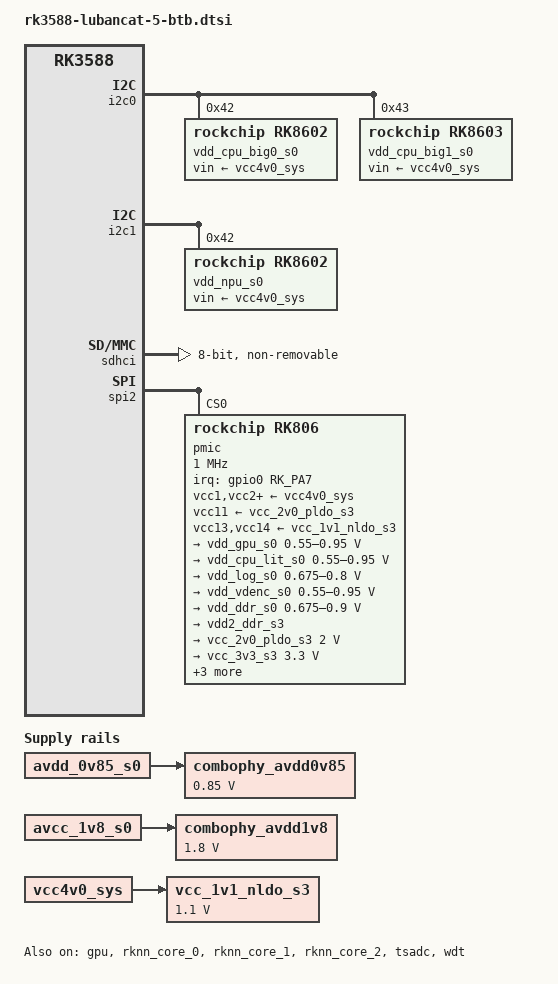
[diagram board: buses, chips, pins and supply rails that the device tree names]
// SPDX-License-Identifier: (GPL-2.0+ OR MIT)
/*
 * Copyright (c) 2025 Cunhao Lu <1579567540@qq.com>
 */

#include <dt-bindings/gpio/gpio.h>

/ {
	compatible = "embedfire,lubancat-5-btb", "rockchip,rk3588";

	aliases {
		mmc0 = &sdhci;
	};

	combophy_avdd0v85: regulator-combophy-avdd0v85 {
		compatible = "regulator-fixed";
		regulator-boot-on;
		regulator-max-microvolt = <850000>;
		regulator-min-microvolt = <850000>;
		regulator-name = "combophy_avdd0v85";
		vin-supply = <&avdd_0v85_s0>;
	};

	combophy_avdd1v8: regulator-combophy-avdd1v8 {
		compatible = "regulator-fixed";
		regulator-boot-on;
		regulator-max-microvolt = <1800000>;
		regulator-min-microvolt = <1800000>;
		regulator-name = "combophy_avdd1v8";
		vin-supply = <&avcc_1v8_s0>;
	};

	vcc_1v1_nldo_s3: regulator-vcc-1v1-nldo-s3 {
		compatible = "regulator-fixed";
		regulator-always-on;
		regulator-boot-on;
		regulator-max-microvolt = <1100000>;
		regulator-min-microvolt = <1100000>;
		regulator-name = "vcc_1v1_nldo_s3";
		vin-supply = <&vcc4v0_sys>;
	};
};

&can1 {
	assigned-clock-rates = <300000000>;
	assigned-clocks = <&cru CLK_CAN1>;
};

&can2 {
	assigned-clock-rates = <300000000>;
	assigned-clocks = <&cru CLK_CAN2>;
};

&cpu_b0 {
	cpu-supply = <&vdd_cpu_big0_s0>;
};

&cpu_b1 {
	cpu-supply = <&vdd_cpu_big0_s0>;
};

&cpu_b2 {
	cpu-supply = <&vdd_cpu_big1_s0>;
};

&cpu_b3 {
	cpu-supply = <&vdd_cpu_big1_s0>;
};

&cpu_l0 {
	cpu-supply = <&vdd_cpu_lit_s0>;
};

&cpu_l1 {
	cpu-supply = <&vdd_cpu_lit_s0>;
};

&cpu_l2 {
	cpu-supply = <&vdd_cpu_lit_s0>;
};

&cpu_l3 {
	cpu-supply = <&vdd_cpu_lit_s0>;
};

&gpu {
	mali-supply = <&vdd_gpu_s0>;
	status = "okay";
};

&i2c0 {
	pinctrl-0 = <&i2c0m2_xfer>;
	pinctrl-names = "default";
	status = "okay";

	vdd_cpu_big0_s0: regulator@42 {
		compatible = "rockchip,rk8602";
		reg = <0x42>;
		regulator-always-on;
		regulator-boot-on;
		regulator-max-microvolt = <1050000>;
		regulator-min-microvolt = <550000>;
		regulator-name = "vdd_cpu_big0_s0";
		regulator-ramp-delay = <2300>;
		vin-supply = <&vcc4v0_sys>;
		fcs,suspend-voltage-selector = <1>;

		regulator-state-mem {
			regulator-off-in-suspend;
		};
	};

	vdd_cpu_big1_s0: regulator@43 {
		compatible = "rockchip,rk8603", "rockchip,rk8602";
		reg = <0x43>;
		regulator-always-on;
		regulator-boot-on;
		regulator-max-microvolt = <1050000>;
		regulator-min-microvolt = <550000>;
		regulator-name = "vdd_cpu_big1_s0";
		regulator-ramp-delay = <2300>;
		vin-supply = <&vcc4v0_sys>;
		fcs,suspend-voltage-selector = <1>;

		regulator-state-mem {
			regulator-off-in-suspend;
		};
	};
};

&i2c1 {
	pinctrl-0 = <&i2c1m2_xfer>;
	pinctrl-names = "default";
	status = "okay";

	vdd_npu_s0: regulator@42 {
		compatible = "rockchip,rk8602";
		reg = <0x42>;
		regulator-boot-on;
		regulator-max-microvolt = <950000>;
		regulator-min-microvolt = <550000>;
		regulator-name = "vdd_npu_s0";
		regulator-ramp-delay = <2300>;
		vin-supply = <&vcc4v0_sys>;
		fcs,suspend-voltage-selector = <1>;

		regulator-state-mem {
			regulator-off-in-suspend;
		};
	};
};

&pd_gpu {
	domain-supply = <&vdd_gpu_s0>;
};

&pd_npu {
	domain-supply = <&vdd_npu_s0>;
};

&rknn_core_0 {
	npu-supply = <&vdd_npu_s0>;
	sram-supply = <&vdd_npu_s0>;
	status = "okay";
};

&rknn_core_1 {
	npu-supply = <&vdd_npu_s0>;
	sram-supply = <&vdd_npu_s0>;
	status = "okay";
};

&rknn_core_2 {
	npu-supply = <&vdd_npu_s0>;
	sram-supply = <&vdd_npu_s0>;
	status = "okay";
};

&rknn_mmu_0 {
	status = "okay";
};

&rknn_mmu_1 {
	status = "okay";
};

&rknn_mmu_2 {
	status = "okay";
};

&sdhci {
	bus-width = <8>;
	max-frequency = <200000000>;
	mmc-hs400-1_8v;
	mmc-hs400-enhanced-strobe;
	no-sd;
	no-sdio;
	non-removable;
	status = "okay";
};

&sfc {
	status = "disabled";
};

&spi2 {
	assigned-clock-rates = <200000000>;
	assigned-clocks = <&cru CLK_SPI2>;
	num-cs = <1>;
	pinctrl-0 = <&spi2m2_cs0 &spi2m2_pins>;
	pinctrl-names = "default";
	status = "okay";

	pmic@0 {
		compatible = "rockchip,rk806";
		reg = <0x0>;
		#gpio-cells = <2>;
		gpio-controller;
		interrupt-parent = <&gpio0>;
		interrupts = <RK_PA7 IRQ_TYPE_LEVEL_LOW>;
		pinctrl-0 = <&pmic_pins>, <&rk806_dvs1_null>,
			    <&rk806_dvs2_null>, <&rk806_dvs3_null>;
		pinctrl-names = "default";
		spi-max-frequency = <1000000>;
		system-power-controller;

		vcc1-supply = <&vcc4v0_sys>;
		vcc2-supply = <&vcc4v0_sys>;
		vcc3-supply = <&vcc4v0_sys>;
		vcc4-supply = <&vcc4v0_sys>;
		vcc5-supply = <&vcc4v0_sys>;
		vcc6-supply = <&vcc4v0_sys>;
		vcc7-supply = <&vcc4v0_sys>;
		vcc8-supply = <&vcc4v0_sys>;
		vcc9-supply = <&vcc4v0_sys>;
		vcc10-supply = <&vcc4v0_sys>;
		vcc11-supply = <&vcc_2v0_pldo_s3>;
		vcc12-supply = <&vcc4v0_sys>;
		vcc13-supply = <&vcc_1v1_nldo_s3>;
		vcc14-supply = <&vcc_1v1_nldo_s3>;
		vcca-supply = <&vcc4v0_sys>;

		rk806_dvs1_null: dvs1-null-pins {
			function = "pin_fun0";
			pins = "gpio_pwrctrl1";
		};

		rk806_dvs2_null: dvs2-null-pins {
			function = "pin_fun0";
			pins = "gpio_pwrctrl2";
		};

		rk806_dvs3_null: dvs3-null-pins {
			function = "pin_fun0";
			pins = "gpio_pwrctrl3";
		};

		regulators {
			vdd_gpu_s0: dcdc-reg1 {
				regulator-boot-on;
				regulator-enable-ramp-delay = <400>;
				regulator-max-microvolt = <950000>;
				regulator-min-microvolt = <550000>;
				regulator-name = "vdd_gpu_s0";
				regulator-ramp-delay = <12500>;

				regulator-state-mem {
					regulator-off-in-suspend;
				};
			};

			vdd_cpu_lit_s0: dcdc-reg2 {
				regulator-always-on;
				regulator-boot-on;
				regulator-max-microvolt = <950000>;
				regulator-min-microvolt = <550000>;
				regulator-name = "vdd_cpu_lit_s0";
				regulator-ramp-delay = <12500>;

				regulator-state-mem {
					regulator-off-in-suspend;
				};
			};

			vdd_log_s0: dcdc-reg3 {
				regulator-always-on;
				regulator-boot-on;
				regulator-max-microvolt = <800000>;
				regulator-min-microvolt = <675000>;
				regulator-name = "vdd_log_s0";
				regulator-ramp-delay = <12500>;

				regulator-state-mem {
					regulator-off-in-suspend;
					regulator-suspend-microvolt = <750000>;
				};
			};

			vdd_vdenc_s0: dcdc-reg4 {
				regulator-always-on;
				regulator-boot-on;
				regulator-max-microvolt = <950000>;
				regulator-min-microvolt = <550000>;
				regulator-name = "vdd_vdenc_s0";
				regulator-ramp-delay = <12500>;

				regulator-state-mem {
					regulator-off-in-suspend;
				};
			};

			vdd_ddr_s0: dcdc-reg5 {
				regulator-always-on;
				regulator-boot-on;
				regulator-max-microvolt = <900000>;
				regulator-min-microvolt = <675000>;
				regulator-name = "vdd_ddr_s0";
				regulator-ramp-delay = <12500>;

				regulator-state-mem {
					regulator-off-in-suspend;
					regulator-suspend-microvolt = <850000>;
				};
			};

			vdd2_ddr_s3: dcdc-reg6 {
				regulator-always-on;
				regulator-boot-on;
				regulator-name = "vdd2_ddr_s3";

				regulator-state-mem {
					regulator-on-in-suspend;
				};
			};

			vcc_2v0_pldo_s3: dcdc-reg7 {
				regulator-always-on;
				regulator-boot-on;
				regulator-max-microvolt = <2000000>;
				regulator-min-microvolt = <2000000>;
				regulator-name = "vcc_2v0_pldo_s3";
				regulator-ramp-delay = <12500>;

				regulator-state-mem {
					regulator-on-in-suspend;
					regulator-suspend-microvolt = <2000000>;
				};
			};

			vcc_3v3_s3: dcdc-reg8 {
				regulator-always-on;
				regulator-boot-on;
				regulator-max-microvolt = <3300000>;
				regulator-min-microvolt = <3300000>;
				regulator-name = "vcc_3v3_s3";

				regulator-state-mem {
					regulator-on-in-suspend;
					regulator-suspend-microvolt = <3300000>;
				};
			};

			vddq_ddr_s0: dcdc-reg9 {
				regulator-always-on;
				regulator-boot-on;
				regulator-name = "vddq_ddr_s0";

				regulator-state-mem {
					regulator-off-in-suspend;
				};
			};

			vcc_1v8_s3: dcdc-reg10 {
				regulator-always-on;
				regulator-boot-on;
				regulator-max-microvolt = <1800000>;
				regulator-min-microvolt = <1800000>;
				regulator-name = "vcc_1v8_s3";

				regulator-state-mem {
					regulator-on-in-suspend;
					regulator-suspend-microvolt = <1800000>;
				};
			};

			vdd_0v75_s3: nldo-reg1 {
				regulator-always-on;
				regulator-boot-on;
				regulator-max-microvolt = <750000>;
				regulator-min-microvolt = <750000>;
				regulator-name = "vdd_0v75_s3";

				regulator-state-mem {
					regulator-on-in-suspend;
					regulator-suspend-microvolt = <750000>;
				};
			};

			avdd_ddr_pll_s0: nldo-reg2 {
				regulator-always-on;
				regulator-boot-on;
				regulator-max-microvolt = <850000>;
				regulator-min-microvolt = <850000>;
				regulator-name = "avdd_ddr_pll_s0";

				regulator-state-mem {
					regulator-off-in-suspend;
					regulator-suspend-microvolt = <850000>;
				};
			};

			avdd_0v75_s0: nldo-reg3 {
				regulator-always-on;
				regulator-boot-on;
				regulator-max-microvolt = <837500>;
				regulator-min-microvolt = <837500>;
				regulator-name = "avdd_0v75_s0";

				regulator-state-mem {
					regulator-off-in-suspend;
				};
			};

			avdd_0v85_s0: nldo-reg4 {
				regulator-always-on;
				regulator-boot-on;
				regulator-max-microvolt = <850000>;
				regulator-min-microvolt = <850000>;
				regulator-name = "avdd_0v85_s0";

				regulator-state-mem {
					regulator-off-in-suspend;
				};
			};

			vdd_0v75_s0: nldo-reg5 {
				regulator-always-on;
				regulator-boot-on;
				regulator-max-microvolt = <750000>;
				regulator-min-microvolt = <750000>;
				regulator-name = "vdd_0v75_s0";

				regulator-state-mem {
					regulator-off-in-suspend;
				};
			};

			avcc_1v8_s0: pldo-reg1 {
				regulator-always-on;
				regulator-boot-on;
				regulator-max-microvolt = <1800000>;
				regulator-min-microvolt = <1800000>;
				regulator-name = "avcc_1v8_s0";

				regulator-state-mem {
					regulator-on-in-suspend;
					regulator-suspend-microvolt = <1800000>;
				};
			};

			vcc_1v8_s0: pldo-reg2 {
				regulator-always-on;
				regulator-boot-on;
				regulator-max-microvolt = <1800000>;
				regulator-min-microvolt = <1800000>;
				regulator-name = "vcc_1v8_s0";

				regulator-state-mem {
					regulator-off-in-suspend;
					regulator-suspend-microvolt = <1800000>;
				};
			};

			avdd_1v2_s0: pldo-reg3 {
				regulator-always-on;
				regulator-boot-on;
				regulator-max-microvolt = <1200000>;
				regulator-min-microvolt = <1200000>;
				regulator-name = "avdd_1v2_s0";

				regulator-state-mem {
					regulator-off-in-suspend;
				};
			};

			avcc_3v3_s0: pldo-reg4 {
				regulator-always-on;
				regulator-boot-on;
				regulator-max-microvolt = <3300000>;
				regulator-min-microvolt = <3300000>;
				regulator-name = "avcc_3v3_s0";
				regulator-ramp-delay = <12500>;

				regulator-state-mem {
					regulator-off-in-suspend;
				};
			};

			vccio_sd_s0: pldo-reg5 {
				regulator-always-on;
				regulator-boot-on;
				regulator-max-microvolt = <3300000>;
				regulator-min-microvolt = <1800000>;
				regulator-name = "vccio_sd_s0";
				regulator-ramp-delay = <12500>;

				regulator-state-mem {
					regulator-off-in-suspend;
				};
			};

			pldo6_s3: pldo-reg6 {
				regulator-always-on;
				regulator-boot-on;
				regulator-max-microvolt = <1800000>;
				regulator-min-microvolt = <1800000>;
				regulator-name = "pldo6_s3";

				regulator-state-mem {
					regulator-on-in-suspend;
					regulator-suspend-microvolt = <1800000>;
				};
			};
		};
	};
};

&tsadc {
	status = "okay";
};

&wdt {
	status = "okay";
};
